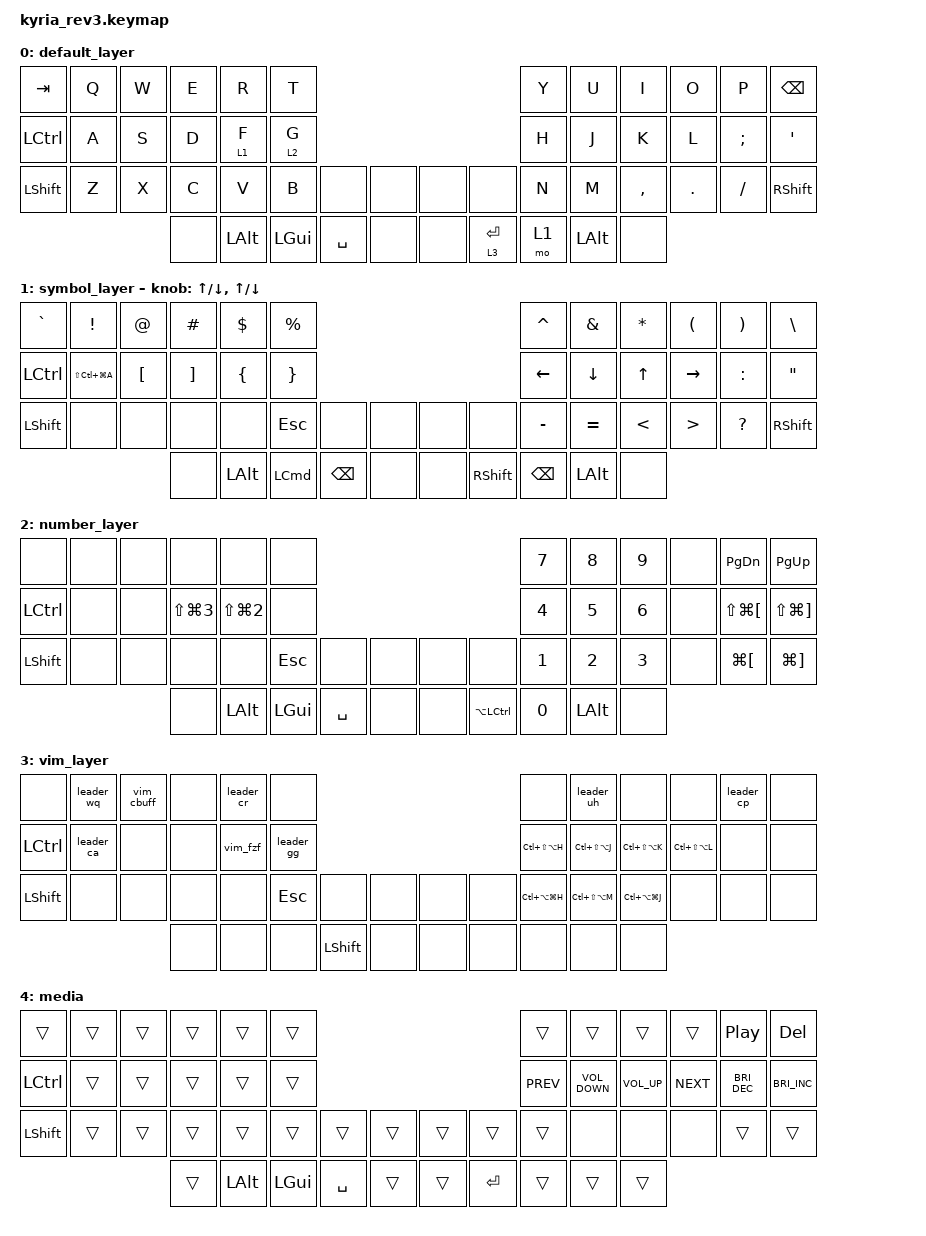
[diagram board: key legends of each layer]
/*
 * Copyright (c) 2023 The ZMK Contributors
 *
 * SPDX-License-Identifier: MIT
 */

#include <behaviors.dtsi>
#include <dt-bindings/zmk/keys.h>

&led_strip {
    chain-length = <6>;

    // chain-length = <31>; // Uncomment if using both per-key and underglow LEDs
    // chain-length = <25>; // Uncomment if using only per-key LEDs.
};

/ {
    combos {
        compatible = "zmk,combos";

        reload_vim {
            bindings = <&kp LS(LA(R))>;
            key-positions = <4 5>;
        };

        underscore {
            bindings = <&kp UNDERSCORE>;
            key-positions = <34 35>;
        };

        plus {
            bindings = <&kp PLUS>;
            key-positions = <35 36>;
        };

        dquote {
            bindings = <&kp DOUBLE_QUOTES>;
            key-positions = <22 23>;
        };

        pipe {
            bindings = <&kp PIPE>;
            key-positions = <10 11>;
        };

        tilde {
            bindings = <&kp TILDE>;
            key-positions = <0 1>;
        };

        layer4 {
            bindings = <&mo 4>;
            key-positions = <42 43>;
        };

        layer_2 {
            bindings = <&mo 2>;
            key-positions = <46 47>;
        };
    };

    macros {
        leader_sg: vim_lgg {
            compatible = "zmk,behavior-macro";
            #binding-cells = <0>;
            bindings = <&kp SPACE &kp S &kp G>;
            label = "VIM_LGG";
        };

        shift_vc: vim_lcs {
            compatible = "zmk,behavior-macro";
            #binding-cells = <0>;
            bindings = <&kp LS(V) &kp C>;
            label = "VIM_LCS";
        };

        leader_uh: vim_tu {
            compatible = "zmk,behavior-macro";
            #binding-cells = <0>;
            bindings = <&kp SPACE &kp U &kp H>;
            label = "VIM_TU";
        };

        leader_cp: vim_lcp {
            compatible = "zmk,behavior-macro";
            #binding-cells = <0>;
            bindings = <&kp SPACE &kp C &kp P>;
            label = "VIM_LCP";
        };

        leader_fg: vim_lfb {
            compatible = "zmk,behavior-macro";
            #binding-cells = <0>;
            bindings = <&kp SPACE &kp F &kp G>;
            label = "VIM_LFB";
        };

        leader_cr: vim_lcr {
            compatible = "zmk,behavior-macro";
            #binding-cells = <0>;
            bindings = <&kp SPACE &kp C &kp R>;
            label = "VIM_LCR";
        };

        leader_ca: vim_lca {
            compatible = "zmk,behavior-macro";
            #binding-cells = <0>;
            bindings = <&kp SPACE &kp C &kp A>;
            label = "VIM_LCA";
        };

        leader_bd: leader_bd {
            compatible = "zmk,behavior-macro";
            #binding-cells = <0>;
            bindings = <&kp SPACE &kp B &kp D>;
            label = "LEADER_BD";
        };

        leader_bP: leader_bP {
            compatible = "zmk,behavior-macro";
            #binding-cells = <0>;
            bindings = <&kp SPACE &kp B &kp LS(P)>;
            label = "LEADER_BP";
        };

        leader_gg: leader_gg {
            compatible = "zmk,behavior-macro";
            #binding-cells = <0>;
            bindings = <&kp SPACE &kp G &kp G>;
            label = "LEADER_GG";
        };

        leader_wq: leader_wq {
            compatible = "zmk,behavior-macro";
            #binding-cells = <0>;
            bindings = <&kp SPACE &kp W &kp Q>;
            label = "LEADER_WQ";
        };
    };

    behaviors {
        ntree: number_tree_dot {
            compatible = "zmk,behavior-mod-morph";
            #binding-cells = <0>;
            bindings = <&kp NUMBER_3>, <&kp PERIOD>;

            mods = <(MOD_LSFT)>;
        };

        ntwo: number_two_comma {
            compatible = "zmk,behavior-mod-morph";
            #binding-cells = <0>;
            bindings = <&kp NUMBER_2>, <&kp COMMA>;

            mods = <(MOD_LSFT)>;
        };

        vim_fzf: vim_fzf {
            compatible = "zmk,behavior-mod-morph";
            label = "VIM_FZF";
            bindings = <&leader_fg>, <&leader_sg>;

            #binding-cells = <0>;
            mods = <(MOD_LSFT)>;
        };

        vim_cbuff: vim_cbuff {
            compatible = "zmk,behavior-mod-morph";
            label = "VIM_CBUFF";
            bindings = <&leader_bd>, <&leader_bP>;

            #binding-cells = <0>;
            mods = <(MOD_LALT)>;
        };

        lt_fast: lt_fast {
            compatible = "zmk,behavior-hold-tap";
            label = "LT_FAST";
            bindings = <&mo>, <&kp>;

            #binding-cells = <2>;
            tapping-term-ms = <100>;
        };
    };

    keymap {
        compatible = "zmk,keymap";

        default_layer {
            // ---------------------------------------------------------------------------------------------------------------------------------
            // |  TAB  |  Q  |  W  |  E   |  R   |  T   |                                          |  Y   |  U    |  I    |  O   |   P   |   DEL  |
            // |  LCTRL  |  A  |  S  |  D   |  F   |  G   |                                          |  H   |  J    |  K    |  L   |   ;   |   '  |
            // | SHIFT |  Z  |  X  |  C   |  V   |  B   | ESC | LAYER 1 |  | LAYER 1 | ESC |  N   |  M    |  ,    |  .   |   /   | SHIFT |
            //                     | CTRL  | ALT  | CMD  |  SPACE  |   BSPC   |  |   RET   |  SPACE  | RET  | BSPC  | R-ALT |

            bindings = <
&kp TAB           &kp Q  &kp W  &kp E  &kp R         &kp T                                               &kp Y  &kp U         &kp I      &kp O       &kp P          &kp BACKSPACE
&kp LEFT_CONTROL  &kp A  &kp S  &kp D  &lt 1 F       &lt 2 G                                             &kp H  &kp J         &kp K      &kp L       &kp SEMICOLON  &kp SINGLE_QUOTE
&kp LEFT_SHIFT    &kp Z  &kp X  &kp C  &kp V         &kp B         &none      &none  &none  &none        &kp N  &kp M         &kp COMMA  &kp PERIOD  &kp SLASH      &kp RIGHT_SHIFT
                                &none  &kp LEFT_ALT  &kp LEFT_GUI  &kp SPACE  &none  &none  &lt 3 ENTER  &mo 1  &kp LEFT_ALT  &none
            >;
        };

        symbol_layer {
            // ---------------------------------------------------------------------------------------------------------------------------------
            // |       |      |BT_CLR|BTSEL0|BTSEL1|BTSEL2|                                         |      |      |      |      |      |      |
            // |       |      |      |BTSEL3|BTSEL4|      |                                         |      |      |      |      |      |      |
            // |       |      |      |      |      |      |      |      |      |      |      |      |      |      |      |      |      |      |
            //                       |      |      |      |      |      |      |      |      |      |      |      |      |

            bindings = <
&kp GRAVE  &kp EXCLAMATION    &kp AT_SIGN       &kp HASH           &kp DOLLAR      &kp PERCENT                                                     &kp CARET       &kp AMPERSAND   &kp ASTERISK   &kp LEFT_PARENTHESIS  &kp RIGHT_PARENTHESIS  &kp BACKSLASH
&kp LCTRL  &kp LS(LC(LG(A)))  &kp LEFT_BRACKET  &kp RIGHT_BRACKET  &kp LEFT_BRACE  &kp RIGHT_BRACE                                                 &kp LEFT_ARROW  &kp DOWN_ARROW  &kp UP_ARROW   &kp RIGHT_ARROW       &kp COLON              &kp DOUBLE_QUOTES
&kp LSHFT  &none              &none             &none              &none           &kp ESCAPE        &none          &none  &none  &none            &kp MINUS       &kp EQUAL       &kp LESS_THAN  &kp GREATER_THAN      &kp QUESTION           &kp RIGHT_SHIFT
                                                &none              &kp LALT        &kp LEFT_COMMAND  &kp BACKSPACE  &none  &none  &kp RIGHT_SHIFT  &kp BACKSPACE   &kp LEFT_ALT    &none
            >;

            sensor-bindings =
                <&inc_dec_kp UP_ARROW DOWN_ARROW>,
                <&inc_dec_kp UP_ARROW DOWN_ARROW>;
        };

        number_layer {
            bindings = <
&none             &none  &none  &none                 &none                 &none                                               &kp N7  &kp N8        &kp N9  &none  &kp PAGE_DOWN             &kp PG_UP
&kp LEFT_CONTROL  &none  &none  &kp LS(LG(NUMBER_3))  &kp LS(LG(NUMBER_2))  &none                                               &kp N4  &kp N5        &kp N6  &none  &kp LS(LG(LEFT_BRACKET))  &kp LS(LG(RIGHT_BRACKET))
&kp LEFT_SHIFT    &none  &none  &none                 &none                 &kp ESCAPE  &none      &none  &none  &none          &kp N1  &kp N2        &kp N3  &none  &kp LG(LEFT_BRACKET)      &kp LG(RIGHT_BRACKET)
                                &none                 &kp LEFT_ALT          &kp LGUI    &kp SPACE  &none  &none  &kp LA(LCTRL)  &kp N0  &kp LEFT_ALT  &none
            >;
        };

        vim_layer {
            bindings = <
&none      &leader_wq  &vim_cbuff  &none  &leader_cr  &none                                            &none              &leader_uh         &none              &none              &leader_cp  &none
&kp LCTRL  &leader_ca  &none       &none  &vim_fzf    &leader_gg                                       &kp LC(LS(LA(H)))  &kp LC(LS(LA(J)))  &kp LC(LS(LA(K)))  &kp LC(LS(LA(L)))  &none       &none
&kp LSHFT  &none       &none       &none  &none       &kp ESCAPE  &none           &none  &none  &none  &kp LC(LA(LG(H)))  &kp LC(LS(LA(M)))  &kp LC(LA(LG(J)))  &none              &none       &none
                                   &none  &none       &none       &kp LEFT_SHIFT  &none  &none  &none  &none              &none              &none
            >;
        };

        media {
            bindings = <
&trans     &trans  &trans  &trans  &trans    &trans                                          &trans      &trans             &trans           &trans      &kp C_PLAY_PAUSE      &kp DELETE
&kp LCTRL  &trans  &trans  &trans  &trans    &trans                                          &kp C_PREV  &kp C_VOLUME_DOWN  &kp C_VOLUME_UP  &kp C_NEXT  &kp C_BRIGHTNESS_DEC  &kp C_BRIGHTNESS_INC
&kp LSHFT  &trans  &trans  &trans  &trans    &trans    &trans     &trans  &trans  &trans     &trans      &none              &none            &none       &trans                &trans
                           &trans  &kp LALT  &kp LGUI  &kp SPACE  &trans  &trans  &kp ENTER  &trans      &trans             &trans
            >;
        };
    };
};
